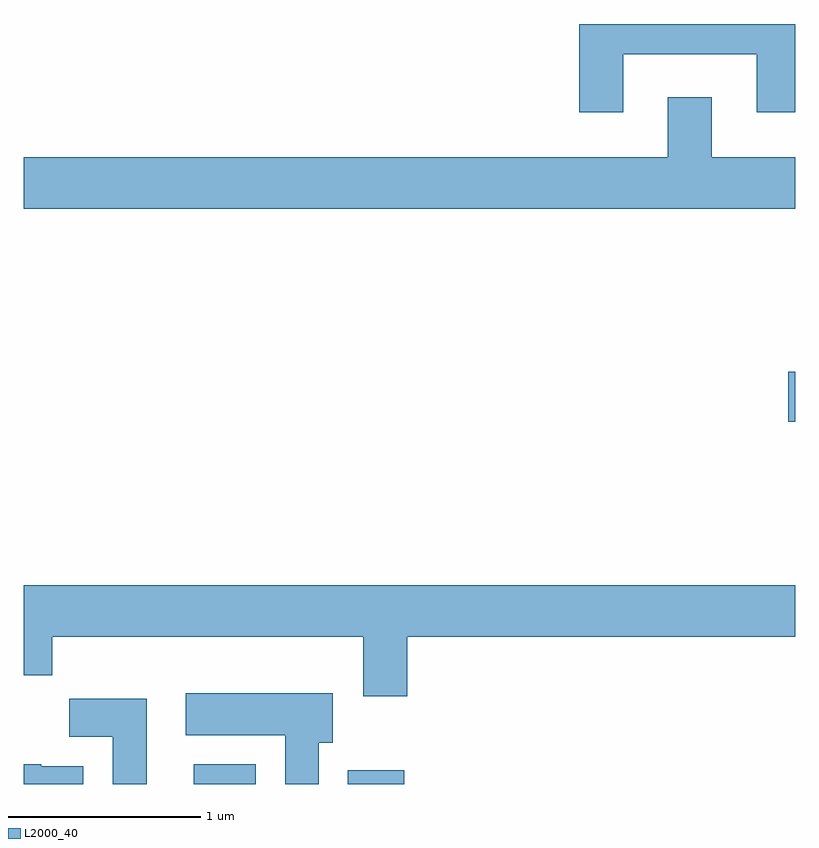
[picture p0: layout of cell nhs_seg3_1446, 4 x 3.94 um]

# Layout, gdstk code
import gdstk
lib = gdstk.Library(unit=1e-6, precision=1e-09)
def R(c, l, rs):  # rectangles x0, y0, x1, y1
    for r in rs: c.add(gdstk.rectangle(r[:2], r[2:], *l))
def P(c, l, *ps):  # polygons
    for p in ps: c.add(gdstk.Polygon(p, *l))
L2000_40 = (2000, 40)

nhs_seg3_1446 = lib.new_cell('nhs_seg3_1446')
R(nhs_seg3_1446, L2000_40, [(228.491,1151.892,228.814,1151.994), (229.291,1151.892,229.584,1151.964), (231.576,1153.771,231.611,1154.029)])
P(nhs_seg3_1446, L2000_40, [(230.719,1155.676),(231.411,1155.676),(231.411,1155.376),(231.611,1155.376),(231.611,1155.834),(230.491,1155.834),(230.491,1155.376),(230.719,1155.376)],
  [(231.611,1155.144),(231.179,1155.144),(231.179,1155.454),(230.951,1155.454),(230.951,1155.144),(227.611,1155.144),(227.611,1154.876),(231.611,1154.876)],
  [(229.599,1152.656),(231.611,1152.656),(231.611,1152.924),(227.611,1152.924),(227.611,1152.456),(227.759,1152.456),(227.759,1152.656),(229.371,1152.656),(229.371,1152.346),(229.599,1152.346)],
  [(229.139,1152.106),(229.214,1152.106),(229.214,1152.364),(228.451,1152.364),(228.451,1152.146),(228.966,1152.146),(228.966,1151.892),(229.139,1151.892)],
  [(228.249,1152.334),(227.846,1152.334),(227.846,1152.136),(228.071,1152.136),(228.071,1151.892),(228.249,1151.892)],
  [(227.919,1151.984),(227.7,1151.984),(227.7,1151.994),(227.611,1151.994),(227.611,1151.892),(227.919,1151.892)])

lib.write_gds('nhs_seg3_1446.gds')
